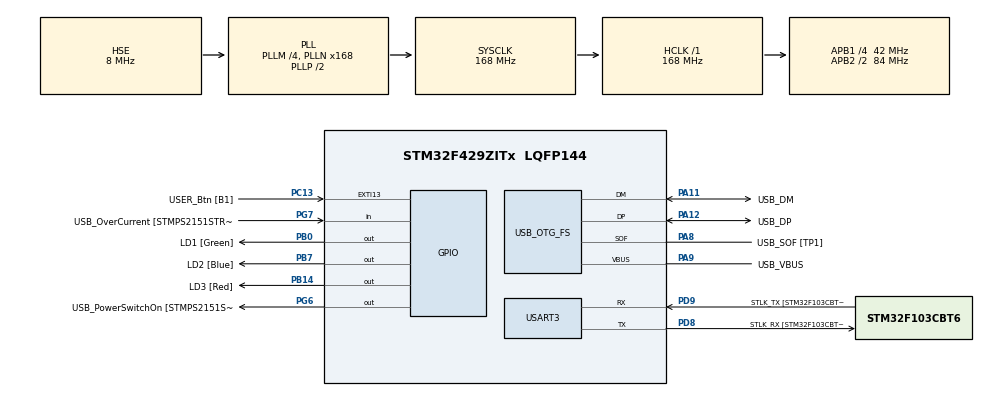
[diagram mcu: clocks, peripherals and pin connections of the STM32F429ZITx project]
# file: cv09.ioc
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Mcu.Family=STM32F4
Mcu.Name=STM32F429ZITx
Mcu.Package=LQFP144
NVIC.PriorityGroup=NVIC_PRIORITYGROUP_4
PA1.GPIO_Label=RMII_REF_CLK [LAN8742A-CZ-TR_REFCLK0]
PA1.Signal=ETH_REF_CLK
PA10.GPIO_Label=USB_ID
PA10.Signal=USB_OTG_FS_ID
PA11.GPIO_Label=USB_DM
PA11.Mode=Device_Only
PA11.Signal=USB_OTG_FS_DM
PA12.GPIO_Label=USB_DP
PA12.Mode=Device_Only
PA12.Signal=USB_OTG_FS_DP
PA13.GPIO_Label=TMS
PA13.Mode=Serial_Wire
PA13.Signal=SYS_JTMS-SWDIO
PA14.GPIO_Label=TCK
PA14.Mode=Serial_Wire
PA14.Signal=SYS_JTCK-SWCLK
PA2.GPIO_Label=RMII_MDIO [LAN8742A-CZ-TR_MDIO]
PA2.Signal=ETH_MDIO
PA7.GPIO_Label=RMII_CRS_DV [LAN8742A-CZ-TR_CRS_DV]
PA7.Signal=ETH_CRS_DV
PA8.GPIO_Label=USB_SOF [TP1]
PA8.Mode=Activate_SOF_FS
PA8.Signal=USB_OTG_FS_SOF
PA9.GPIO_Label=USB_VBUS
PA9.Mode=Activate_VBUS
PA9.Signal=USB_OTG_FS_VBUS
PB0.GPIO_Label=LD1 [Green]
PB0.Signal=GPIO_Output
PB13.GPIO_Label=RMII_TXD1 [LAN8742A-CZ-TR_TXD1]
PB13.Signal=ETH_TXD1
PB14.GPIO_Label=LD3 [Red]
PB14.Signal=GPIO_Output
PB7.GPIO_Label=LD2 [Blue]
PB7.Signal=GPIO_Output
PC1.GPIO_Label=RMII_MDC [LAN8742A-CZ-TR_MDC]
PC1.Signal=ETH_MDC
PC13.GPIO_Label=USER_Btn [B1]
PC13.Signal=GPXTI13
PC14/OSC32_IN.Mode=LSE-External-Oscillator
PC14/OSC32_IN.Signal=RCC_OSC32_IN
PC15/OSC32_OUT.Mode=LSE-External-Oscillator
PC15/OSC32_OUT.Signal=RCC_OSC32_OUT
PC4.GPIO_Label=RMII_RXD0 [LAN8742A-CZ-TR_RXD0]
PC4.Signal=ETH_RXD0
PC5.GPIO_Label=RMII_RXD1 [LAN8742A-CZ-TR_RXD1]
PC5.Signal=ETH_RXD1
PD8.GPIO_Label=STLK_RX [STM32F103CBT6_PA3]
PD8.Mode=Asynchronous
PD8.Signal=USART3_TX
PD9.GPIO_Label=STLK_TX [STM32F103CBT6_PA2]
PD9.Mode=Asynchronous
PD9.Signal=USART3_RX
PG11.GPIO_Label=RMII_TX_EN [LAN8742A-CZ-TR_TXEN]
PG11.Signal=ETH_TX_EN
PG13.GPIO_Label=RMII_TXD0 [LAN8742A-CZ-TR_TXD0]
PG13.Signal=ETH_TXD0
PG6.GPIO_Label=USB_PowerSwitchOn [STMPS2151STR_EN]
PG6.Signal=GPIO_Output
PG7.GPIO_Label=USB_OverCurrent [STMPS2151STR_FAULT]
PG7.Signal=GPIO_Input
PH0/OSC_IN.GPIO_Label=MCO [STM32F103CBT6_PA8]
PH0/OSC_IN.Mode=HSE-External-Clock-Source
PH0/OSC_IN.Signal=RCC_OSC_IN
PH1/OSC_OUT.Mode=HSE-External-Clock-Source
PH1/OSC_OUT.Signal=RCC_OSC_OUT
ProjectManager.HeapSize=0x200
ProjectManager.StackSize=0x400
ProjectManager.TargetToolchain=STM32CubeIDE
RCC.48MHZClocksFreq_Value=48000000
RCC.AHBFreq_Value=168000000
RCC.APB1CLKDivider=RCC_HCLK_DIV4
RCC.APB1Freq_Value=42000000
RCC.APB1TimFreq_Value=84000000
RCC.APB2CLKDivider=RCC_HCLK_DIV2
RCC.APB2Freq_Value=84000000
RCC.APB2TimCLKDivider=2
RCC.APB2TimFreq_Value=168000000
RCC.CortexFreq_Value=168000000
RCC.HCLKFreq_Value=168000000
RCC.HSE_VALUE=8000000
RCC.HSI_VALUE=16000000
RCC.PLLM=4
RCC.PLLMUL=RCC_PLL_MUL9
RCC.PLLN=168
RCC.PLLQ=7
RCC.PRESCALERUSB=RCC_USBCLKSOURCE_PLL_DIV1_5
RCC.SYSCLKFreq_VALUE=168000000
RCC.SYSCLKSource=RCC_SYSCLKSOURCE_PLLCLK
RCC.SYSCLKSourceVirtual=RCC_SYSCLKSOURCE_PLLCLK
RCC.USBFreq_Value=48000000
RCC.VCOOutputFreq_Value=336000000
USART3.VirtualMode=VM_ASYNC
USB_DEVICE.CLASS_NAME_FS=HID
USB_DEVICE.VirtualMode-HID_FS=Hid
USB_DEVICE.VirtualModeFS=Hid_FS
USB_OTG_FS.VirtualMode=Device_Only
VP_USB_DEVICE_VS_USB_DEVICE_HID_FS.Mode=HID_FS
board=NUCLEO-F429ZI

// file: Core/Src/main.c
/* USER CODE BEGIN Header */
/**
  ******************************************************************************
  * @file           : main.c
  * @brief          : Main program body
  ******************************************************************************
  * @attention
  *
  * <h2><center>&copy; Copyright (c) 2020 STMicroelectronics.
  * All rights reserved.</center></h2>
  *
  * This software component is licensed by ST under BSD 3-Clause license,
  * the "License"; You may not use this file except in compliance with the
  * License. You may obtain a copy of the License at:
  *                        opensource.org/licenses/BSD-3-Clause
  *
  ******************************************************************************
  */
/* USER CODE END Header */

#include "main.h"
#include "usb_device.h"

/* USER CODE BEGIN Includes */
#include "usbd_hid.h"
#include <math.h>
#include  <stdbool.h>
/* USER CODE END Includes */

/* USER CODE BEGIN PD */
#define PI 3.14159265358979323846
#define STEP 50
/* USER CODE END PD */

UART_HandleTypeDef huart3;

void SystemClock_Config(void);
static void MX_GPIO_Init(void);
static void MX_USART3_UART_Init(void);
/* USER CODE BEGIN PFP */
extern USBD_HandleTypeDef hUsbDeviceFS;
/* USER CODE END PFP */

/* USER CODE BEGIN 0 */

void step(int x, int y, _Bool btn)
{
	uint8_t buff[4];
	buff[0] = 0x00;
	if(btn)buff[0] = 0x01; // stiskni leve tlacitko
	buff[1] = x; // posun X
	buff[2] = y; // posun Y
	buff[3] = 0; // bez scrollu
	USBD_HID_SendReport(&hUsbDeviceFS, buff, sizeof(buff));
	HAL_Delay(USBD_HID_GetPollingInterval(&hUsbDeviceFS));
}

void circle_draw(uint32_t radius)
{
	float x=0, y=0;
	int sx=0, sy=0;
	uint32_t diff_x, diff_y;

	for(uint8_t i=0; i<STEP; i++)
	{
		x = radius*cos((2*PI*i)/STEP);
		y = radius*sin((2*PI*i)/STEP);

		diff_x = x-sx;
		diff_y = y-sy;

		step(diff_x,diff_y,true);

		sx=x;
		sy=y;
	}
}

/* USER CODE END 0 */

int main(void)
{

  /* MCU Configuration--------------------------------------------------------*/

  /* Reset of all peripherals, Initializes the Flash interface and the Systick. */
  HAL_Init();

  /* Configure the system clock */
  SystemClock_Config();

  /* Initialize all configured peripherals */
  MX_GPIO_Init();
  MX_USART3_UART_Init();
  MX_USB_DEVICE_Init();

  /* Infinite loop */
  while (1)
  {

    /* USER CODE BEGIN 3 */
	  if(HAL_GPIO_ReadPin(USER_Btn_GPIO_Port, USER_Btn_Pin) == 1)
	  {
		  circle_draw(30);
	  }
  }
  /* USER CODE END 3 */
}

void SystemClock_Config(void)
{
  RCC_OscInitTypeDef RCC_OscInitStruct = {0};
  RCC_ClkInitTypeDef RCC_ClkInitStruct = {0};

  /** Configure the main internal regulator output voltage
  */
  __HAL_RCC_PWR_CLK_ENABLE();
  __HAL_PWR_VOLTAGESCALING_CONFIG(PWR_REGULATOR_VOLTAGE_SCALE1);
  /** Initializes the CPU, AHB and APB busses clocks
  */
  RCC_OscInitStruct.OscillatorType = RCC_OSCILLATORTYPE_HSE;
  RCC_OscInitStruct.HSEState = RCC_HSE_BYPASS;
  RCC_OscInitStruct.PLL.PLLState = RCC_PLL_ON;
  RCC_OscInitStruct.PLL.PLLSource = RCC_PLLSOURCE_HSE;
  RCC_OscInitStruct.PLL.PLLM = 4;
  RCC_OscInitStruct.PLL.PLLN = 168;
  RCC_OscInitStruct.PLL.PLLP = RCC_PLLP_DIV2;
  RCC_OscInitStruct.PLL.PLLQ = 7;
  if (HAL_RCC_OscConfig(&RCC_OscInitStruct) != HAL_OK)
  {
    Error_Handler();
  }
  /** Initializes the CPU, AHB and APB busses clocks
  */
  RCC_ClkInitStruct.ClockType = RCC_CLOCKTYPE_HCLK|RCC_CLOCKTYPE_SYSCLK
                              |RCC_CLOCKTYPE_PCLK1|RCC_CLOCKTYPE_PCLK2;
  RCC_ClkInitStruct.SYSCLKSource = RCC_SYSCLKSOURCE_PLLCLK;
  RCC_ClkInitStruct.AHBCLKDivider = RCC_SYSCLK_DIV1;
  RCC_ClkInitStruct.APB1CLKDivider = RCC_HCLK_DIV4;
  RCC_ClkInitStruct.APB2CLKDivider = RCC_HCLK_DIV2;

  if (HAL_RCC_ClockConfig(&RCC_ClkInitStruct, FLASH_LATENCY_5) != HAL_OK)
  {
    Error_Handler();
  }
}

static void MX_USART3_UART_Init(void)
{

  huart3.Instance = USART3;
  huart3.Init.BaudRate = 115200;
  huart3.Init.WordLength = UART_WORDLENGTH_8B;
  huart3.Init.StopBits = UART_STOPBITS_1;
  huart3.Init.Parity = UART_PARITY_NONE;
  huart3.Init.Mode = UART_MODE_TX_RX;
  huart3.Init.HwFlowCtl = UART_HWCONTROL_NONE;
  huart3.Init.OverSampling = UART_OVERSAMPLING_16;
  if (HAL_UART_Init(&huart3) != HAL_OK)
  {
    Error_Handler();
  }

}

static void MX_GPIO_Init(void)
{
  GPIO_InitTypeDef GPIO_InitStruct = {0};

  /* GPIO Ports Clock Enable */
  __HAL_RCC_GPIOC_CLK_ENABLE();
  __HAL_RCC_GPIOH_CLK_ENABLE();
  __HAL_RCC_GPIOA_CLK_ENABLE();
  __HAL_RCC_GPIOB_CLK_ENABLE();
  __HAL_RCC_GPIOD_CLK_ENABLE();
  __HAL_RCC_GPIOG_CLK_ENABLE();

  /*Configure GPIO pin Output Level */
  HAL_GPIO_WritePin(GPIOB, LD1_Pin|LD3_Pin|LD2_Pin, GPIO_PIN_RESET);

  /*Configure GPIO pin Output Level */
  HAL_GPIO_WritePin(USB_PowerSwitchOn_GPIO_Port, USB_PowerSwitchOn_Pin, GPIO_PIN_RESET);

  /*Configure GPIO pin : USER_Btn_Pin */
  GPIO_InitStruct.Pin = USER_Btn_Pin;
  GPIO_InitStruct.Mode = GPIO_MODE_IT_RISING;
  GPIO_InitStruct.Pull = GPIO_NOPULL;
  HAL_GPIO_Init(USER_Btn_GPIO_Port, &GPIO_InitStruct);

  /*Configure GPIO pins : RMII_MDC_Pin RMII_RXD0_Pin RMII_RXD1_Pin */
  GPIO_InitStruct.Pin = RMII_MDC_Pin|RMII_RXD0_Pin|RMII_RXD1_Pin;
  GPIO_InitStruct.Mode = GPIO_MODE_AF_PP;
  GPIO_InitStruct.Pull = GPIO_NOPULL;
  GPIO_InitStruct.Speed = GPIO_SPEED_FREQ_VERY_HIGH;
  GPIO_InitStruct.Alternate = GPIO_AF11_ETH;
  HAL_GPIO_Init(GPIOC, &GPIO_InitStruct);

  /*Configure GPIO pins : RMII_REF_CLK_Pin RMII_MDIO_Pin RMII_CRS_DV_Pin */
  GPIO_InitStruct.Pin = RMII_REF_CLK_Pin|RMII_MDIO_Pin|RMII_CRS_DV_Pin;
  GPIO_InitStruct.Mode = GPIO_MODE_AF_PP;
  GPIO_InitStruct.Pull = GPIO_NOPULL;
  GPIO_InitStruct.Speed = GPIO_SPEED_FREQ_VERY_HIGH;
  GPIO_InitStruct.Alternate = GPIO_AF11_ETH;
  HAL_GPIO_Init(GPIOA, &GPIO_InitStruct);

  /*Configure GPIO pins : LD1_Pin LD3_Pin LD2_Pin */
  GPIO_InitStruct.Pin = LD1_Pin|LD3_Pin|LD2_Pin;
  GPIO_InitStruct.Mode = GPIO_MODE_OUTPUT_PP;
  GPIO_InitStruct.Pull = GPIO_NOPULL;
  GPIO_InitStruct.Speed = GPIO_SPEED_FREQ_LOW;
  HAL_GPIO_Init(GPIOB, &GPIO_InitStruct);

  /*Configure GPIO pin : RMII_TXD1_Pin */
  GPIO_InitStruct.Pin = RMII_TXD1_Pin;
  GPIO_InitStruct.Mode = GPIO_MODE_AF_PP;
  GPIO_InitStruct.Pull = GPIO_NOPULL;
  GPIO_InitStruct.Speed = GPIO_SPEED_FREQ_VERY_HIGH;
  GPIO_InitStruct.Alternate = GPIO_AF11_ETH;
  HAL_GPIO_Init(RMII_TXD1_GPIO_Port, &GPIO_InitStruct);

  /*Configure GPIO pin : USB_PowerSwitchOn_Pin */
  GPIO_InitStruct.Pin = USB_PowerSwitchOn_Pin;
  GPIO_InitStruct.Mode = GPIO_MODE_OUTPUT_PP;
  GPIO_InitStruct.Pull = GPIO_NOPULL;
  GPIO_InitStruct.Speed = GPIO_SPEED_FREQ_LOW;
  HAL_GPIO_Init(USB_PowerSwitchOn_GPIO_Port, &GPIO_InitStruct);

  /*Configure GPIO pin : USB_OverCurrent_Pin */
  GPIO_InitStruct.Pin = USB_OverCurrent_Pin;
  GPIO_InitStruct.Mode = GPIO_MODE_INPUT;
  GPIO_InitStruct.Pull = GPIO_NOPULL;
  HAL_GPIO_Init(USB_OverCurrent_GPIO_Port, &GPIO_InitStruct);

  /*Configure GPIO pins : RMII_TX_EN_Pin RMII_TXD0_Pin */
  GPIO_InitStruct.Pin = RMII_TX_EN_Pin|RMII_TXD0_Pin;
  GPIO_InitStruct.Mode = GPIO_MODE_AF_PP;
  GPIO_InitStruct.Pull = GPIO_NOPULL;
  GPIO_InitStruct.Speed = GPIO_SPEED_FREQ_VERY_HIGH;
  GPIO_InitStruct.Alternate = GPIO_AF11_ETH;
  HAL_GPIO_Init(GPIOG, &GPIO_InitStruct);

}

void Error_Handler(void)
{
}

/************************ (C) COPYRIGHT STMicroelectronics *****END OF FILE****/
